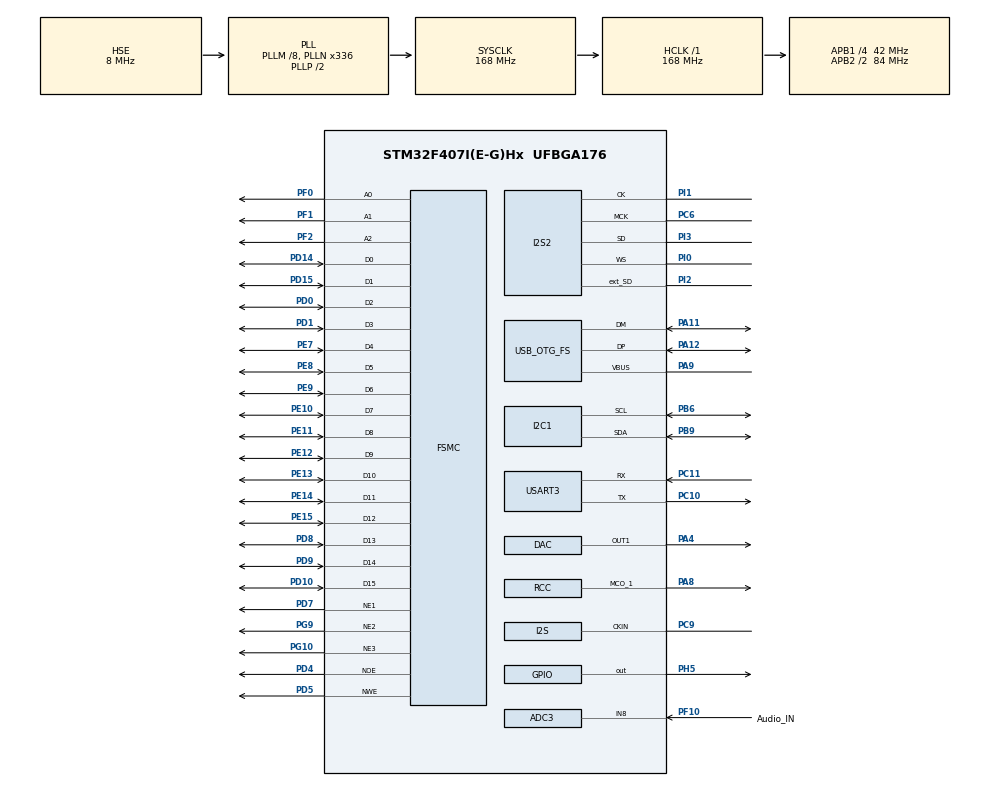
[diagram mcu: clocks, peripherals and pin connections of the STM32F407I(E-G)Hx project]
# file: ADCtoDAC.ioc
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ADC3.Channel-1\#ChannelRegularConversion=ADC_CHANNEL_8
ADC3.ContinuousConvMode=DISABLE
ADC3.DMAContinuousRequests=ENABLE
ADC3.DataAlign=ADC_DATAALIGN_RIGHT
ADC3.ExternalTrigConv=ADC_EXTERNALTRIGCONV_T2_TRGO
ADC3.ExternalTrigConvEdge=ADC_EXTERNALTRIGCONVEDGE_RISING
ADC3.InjNumberOfConversion=0
ADC3.NbrOfConversion=1
ADC3.NbrOfConversionFlag=1
ADC3.Rank-1\#ChannelRegularConversion=1
ADC3.Resolution=ADC_RESOLUTION_12B
ADC3.SamplingTime-1\#ChannelRegularConversion=ADC_SAMPLETIME_480CYCLES
ADC3.ScanConvMode=DISABLE
DAC.DAC_Trigger=DAC_TRIGGER_T2_TRGO
Dma.ADC3.1.Direction=DMA_PERIPH_TO_MEMORY
Dma.ADC3.1.FIFOMode=DMA_FIFOMODE_DISABLE
Dma.ADC3.1.Instance=DMA2_Stream0
Dma.ADC3.1.MemDataAlignment=DMA_MDATAALIGN_WORD
Dma.ADC3.1.MemInc=DMA_MINC_ENABLE
Dma.ADC3.1.Mode=DMA_CIRCULAR
Dma.ADC3.1.PeriphDataAlignment=DMA_PDATAALIGN_WORD
Dma.ADC3.1.PeriphInc=DMA_PINC_DISABLE
Dma.ADC3.1.Priority=DMA_PRIORITY_HIGH
Dma.DAC1.2.Direction=DMA_MEMORY_TO_PERIPH
Dma.DAC1.2.FIFOMode=DMA_FIFOMODE_DISABLE
Dma.DAC1.2.Instance=DMA1_Stream5
Dma.DAC1.2.MemDataAlignment=DMA_MDATAALIGN_WORD
Dma.DAC1.2.MemInc=DMA_MINC_ENABLE
Dma.DAC1.2.Mode=DMA_CIRCULAR
Dma.DAC1.2.PeriphDataAlignment=DMA_PDATAALIGN_WORD
Dma.DAC1.2.PeriphInc=DMA_PINC_DISABLE
Dma.DAC1.2.Priority=DMA_PRIORITY_HIGH
Dma.Request0=SPI2_TX
Dma.Request1=ADC3
Dma.Request2=DAC1
Dma.SPI2_TX.0.Direction=DMA_MEMORY_TO_PERIPH
Dma.SPI2_TX.0.FIFOMode=DMA_FIFOMODE_ENABLE
Dma.SPI2_TX.0.FIFOThreshold=DMA_FIFO_THRESHOLD_FULL
Dma.SPI2_TX.0.Instance=DMA1_Stream4
Dma.SPI2_TX.0.MemBurst=DMA_MBURST_SINGLE
Dma.SPI2_TX.0.MemDataAlignment=DMA_MDATAALIGN_HALFWORD
Dma.SPI2_TX.0.MemInc=DMA_MINC_ENABLE
Dma.SPI2_TX.0.Mode=DMA_CIRCULAR
Dma.SPI2_TX.0.PeriphBurst=DMA_PBURST_SINGLE
Dma.SPI2_TX.0.PeriphDataAlignment=DMA_PDATAALIGN_HALFWORD
Dma.SPI2_TX.0.PeriphInc=DMA_PINC_DISABLE
Dma.SPI2_TX.0.Priority=DMA_PRIORITY_VERY_HIGH
FATFS._USE_FIND=1
FATFS._USE_LFN=1
I2S2.AudioFreq=I2S_AUDIOFREQ_48K
I2S2.DataFormat=I2S_DATAFORMAT_16B
I2S2.ErrorAudioFreq=0.36 %
I2S2.FullDuplexMode=I2S_FULLDUPLEXMODE_ENABLE
I2S2.Instance=SPI$Index
I2S2.RealAudioFreq=48.177 KHz
I2S2.VirtualMode=I2S_MODE_MASTER
Mcu.Family=STM32F4
Mcu.Name=STM32F407I(E-G)Hx
Mcu.Package=UFBGA176
NVIC.DMA1_Stream4_IRQn=true\:0\:0\:false\:false\:true\:false\:true\:true
NVIC.DMA1_Stream5_IRQn=true\:0\:0\:false\:false\:true\:false\:true\:true
NVIC.DMA2_Stream0_IRQn=true\:0\:0\:false\:false\:true\:false\:true\:true
NVIC.OTG_FS_IRQn=true\:0\:0\:false\:false\:true\:false\:true\:true
NVIC.PriorityGroup=NVIC_PRIORITYGROUP_0
PA10.Signal=USB_OTG_FS_ID
PA11.GPIO_Speed=GPIO_SPEED_FREQ_LOW
PA11.Mode=Host_Only
PA11.Signal=USB_OTG_FS_DM
PA12.GPIO_Speed=GPIO_SPEED_FREQ_LOW
PA12.Mode=Host_Only
PA12.Signal=USB_OTG_FS_DP
PA13.Mode=Serial_Wire
PA13.Signal=SYS_JTMS-SWDIO
PA14.Mode=Serial_Wire
PA14.Signal=SYS_JTCK-SWCLK
PA4.Signal=COMP_DAC1_group
PA8.Mode=Clock-out-1
PA8.Signal=RCC_MCO_1
PA9.Mode=Activate_VBUS
PA9.Signal=USB_OTG_FS_VBUS
PB6.Mode=I2C
PB6.Signal=I2C1_SCL
PB9.Mode=I2C
PB9.Signal=I2C1_SDA
PC10.Mode=Asynchronous
PC10.Signal=USART3_TX
PC11.Mode=Asynchronous
PC11.Signal=USART3_RX
PC14-OSC32_IN.Mode=LSE-External-Oscillator
PC14-OSC32_IN.Signal=RCC_OSC32_IN
PC15-OSC32_OUT.Mode=LSE-External-Oscillator
PC15-OSC32_OUT.Signal=RCC_OSC32_OUT
PC6.Mode=Master_Clock_Activated
PC6.Signal=I2S2_MCK
PC9.Mode=Audio_ClockIn
PC9.Signal=I2S_CKIN
PD0.Signal=FSMC_D2_DA2
PD1.Signal=FSMC_D3_DA3
PD10.Signal=FSMC_D15_DA15
PD14.Signal=FSMC_D0_DA0
PD15.Signal=FSMC_D1_DA1
PD4.Signal=FSMC_NOE
PD5.Signal=FSMC_NWE
PD7.Mode=NorPsramChipSelect1_1
PD7.Signal=FSMC_NE1
PD8.Signal=FSMC_D13_DA13
PD9.Signal=FSMC_D14_DA14
PE10.Signal=FSMC_D7_DA7
PE11.Signal=FSMC_D8_DA8
PE12.Signal=FSMC_D9_DA9
PE13.Signal=FSMC_D10_DA10
PE14.Signal=FSMC_D11_DA11
PE15.Signal=FSMC_D12_DA12
PE7.Signal=FSMC_D4_DA4
PE8.Signal=FSMC_D5_DA5
PE9.Signal=FSMC_D6_DA6
PF0.Signal=FSMC_A0
PF1.Signal=FSMC_A1
PF10.GPIO_Label=Audio_IN
PF10.Mode=IN8
PF10.Signal=ADC3_IN8
PF2.Signal=FSMC_A2
PG10.Mode=NorPsramChipSelect3_3
PG10.Signal=FSMC_NE3
PG9.Mode=NorPsramChipSelect2_2
PG9.Signal=FSMC_NE2
PH0-OSC_IN.Mode=HSE-External-Oscillator
PH0-OSC_IN.Signal=RCC_OSC_IN
PH1-OSC_OUT.Mode=HSE-External-Oscillator
PH1-OSC_OUT.Signal=RCC_OSC_OUT
PH5.Signal=GPIO_Output
PI0.Mode=Full_Duplex_Master
PI0.Signal=I2S2_WS
PI1.Mode=Full_Duplex_Master
PI1.Signal=I2S2_CK
PI2.Mode=Full_Duplex_Master
PI2.Signal=I2S2_ext_SD
PI3.Mode=Full_Duplex_Master
PI3.Signal=I2S2_SD
ProjectManager.HeapSize=0x200
ProjectManager.StackSize=0x400
ProjectManager.TargetToolchain=MDK-ARM V5.32
RCC.48MHZClocksFreq_Value=48000000
RCC.AHBFreq_Value=168000000
RCC.APB1CLKDivider=RCC_HCLK_DIV4
RCC.APB1Freq_Value=42000000
RCC.APB1TimFreq_Value=84000000
RCC.APB2CLKDivider=RCC_HCLK_DIV2
RCC.APB2Freq_Value=84000000
RCC.APB2TimFreq_Value=168000000
RCC.CortexFreq_Value=168000000
RCC.EXTERNAL_CLOCK_VALUE=12288000
RCC.HCLKFreq_Value=168000000
RCC.HSE_VALUE=8000000
RCC.HSI_VALUE=16000000
RCC.PLLI2SN=148
RCC.PLLI2SR=3
RCC.PLLM=8
RCC.PLLN=336
RCC.PLLQ=7
RCC.RCC_MCO1Source=RCC_MCO1SOURCE_HSE
RCC.SYSCLKFreq_VALUE=168000000
RCC.SYSCLKSource=RCC_SYSCLKSOURCE_PLLCLK
RCC.VCOOutputFreq_Value=336000000
SH.COMP_DAC1_group.0=DAC_OUT1,DAC_OUT1
SH.FSMC_A0.0=FSMC_A0,A0_1
SH.FSMC_A1.0=FSMC_A1,A1_2
SH.FSMC_A2.0=FSMC_A2,A2_3
SH.FSMC_D0_DA0.0=FSMC_D0,16b-d3
SH.FSMC_D0_DA0.1=FSMC_D0,16b-d2
SH.FSMC_D0_DA0.2=FSMC_D0,16b-d1
SH.FSMC_D10_DA10.0=FSMC_D10,16b-d3
SH.FSMC_D10_DA10.1=FSMC_D10,16b-d2
SH.FSMC_D10_DA10.2=FSMC_D10,16b-d1
SH.FSMC_D11_DA11.0=FSMC_D11,16b-d3
SH.FSMC_D11_DA11.1=FSMC_D11,16b-d2
SH.FSMC_D11_DA11.2=FSMC_D11,16b-d1
SH.FSMC_D12_DA12.0=FSMC_D12,16b-d3
SH.FSMC_D12_DA12.1=FSMC_D12,16b-d2
SH.FSMC_D12_DA12.2=FSMC_D12,16b-d1
SH.FSMC_D13_DA13.0=FSMC_D13,16b-d3
SH.FSMC_D13_DA13.1=FSMC_D13,16b-d2
SH.FSMC_D13_DA13.2=FSMC_D13,16b-d1
SH.FSMC_D14_DA14.0=FSMC_D14,16b-d3
SH.FSMC_D14_DA14.1=FSMC_D14,16b-d2
SH.FSMC_D14_DA14.2=FSMC_D14,16b-d1
SH.FSMC_D15_DA15.0=FSMC_D15,16b-d3
SH.FSMC_D15_DA15.1=FSMC_D15,16b-d2
SH.FSMC_D15_DA15.2=FSMC_D15,16b-d1
SH.FSMC_D1_DA1.0=FSMC_D1,16b-d3
SH.FSMC_D1_DA1.1=FSMC_D1,16b-d2
SH.FSMC_D1_DA1.2=FSMC_D1,16b-d1
SH.FSMC_D2_DA2.0=FSMC_D2,16b-d3
SH.FSMC_D2_DA2.1=FSMC_D2,16b-d2
SH.FSMC_D2_DA2.2=FSMC_D2,16b-d1
SH.FSMC_D3_DA3.0=FSMC_D3,16b-d3
SH.FSMC_D3_DA3.1=FSMC_D3,16b-d2
SH.FSMC_D3_DA3.2=FSMC_D3,16b-d1
SH.FSMC_D4_DA4.0=FSMC_D4,16b-d3
SH.FSMC_D4_DA4.1=FSMC_D4,16b-d2
SH.FSMC_D4_DA4.2=FSMC_D4,16b-d1
SH.FSMC_D5_DA5.0=FSMC_D5,16b-d3
SH.FSMC_D5_DA5.1=FSMC_D5,16b-d2
SH.FSMC_D5_DA5.2=FSMC_D5,16b-d1
SH.FSMC_D6_DA6.0=FSMC_D6,16b-d3
SH.FSMC_D6_DA6.1=FSMC_D6,16b-d2
SH.FSMC_D6_DA6.2=FSMC_D6,16b-d1
SH.FSMC_D7_DA7.0=FSMC_D7,16b-d3
SH.FSMC_D7_DA7.1=FSMC_D7,16b-d2
SH.FSMC_D7_DA7.2=FSMC_D7,16b-d1
SH.FSMC_D8_DA8.0=FSMC_D8,16b-d3
SH.FSMC_D8_DA8.1=FSMC_D8,16b-d2
SH.FSMC_D8_DA8.2=FSMC_D8,16b-d1
SH.FSMC_D9_DA9.0=FSMC_D9,16b-d3
SH.FSMC_D9_DA9.1=FSMC_D9,16b-d2
SH.FSMC_D9_DA9.2=FSMC_D9,16b-d1
SH.FSMC_NOE.0=FSMC_NOE,Lcd1
SH.FSMC_NOE.1=FSMC_NOE,Lcd2
SH.FSMC_NOE.2=FSMC_NOE,Lcd3
SH.FSMC_NWE.0=FSMC_NWE,Lcd1
SH.FSMC_NWE.1=FSMC_NWE,Lcd2
SH.FSMC_NWE.2=FSMC_NWE,Lcd3
TIM2.AutoReloadPreload=TIM_AUTORELOAD_PRELOAD_ENABLE
TIM2.Period=1748
TIM2.TIM_MasterOutputTrigger=TIM_TRGO_UPDATE
USART3.VirtualMode=VM_ASYNC
USB_HOST.BSP.number=1
USB_HOST.USBH_HandleTypeDef-MSC_FS=hUsbHostFS
USB_HOST.VirtualModeFS=Msc
USB_HOST0.BSP.STBoard=false
USB_HOST0.BSP.api=Unknown
USB_HOST0.BSP.condition=SW_VBUS_DRIVE_MSC_FS \= false
USB_HOST0.BSP.instance=PH5
USB_HOST0.BSP.ip=GPIO
USB_HOST0.BSP.mode=Output
USB_HOST0.BSP.name=Drive_VBUS_FS
USB_HOST0.BSP.solution=PH5
USB_OTG_FS.VirtualMode=Host_Only
USB_OTG_FS.phy_itface=HCD_PHY_EMBEDDED
VP_FATFS_VS_USB.Mode=USB
VP_TIM2_VS_ClockSourceINT.Mode=Internal
VP_USB_HOST_VS_USB_HOST_MSC_FS.Mode=MSC_FS
board=STM3240G-EVAL

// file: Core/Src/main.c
/* USER CODE BEGIN Header */
/**
  ******************************************************************************
  * @file           : main.c
  * @brief          : Main program body
  ******************************************************************************
  * @attention
  *
  * Copyright (c) 2024 STMicroelectronics.
  * All rights reserved.
  *
  * This software is licensed under terms that can be found in the LICENSE file
  * in the root directory of this software component.
  * If no LICENSE file comes with this software, it is provided AS-IS.
  *
  ******************************************************************************
  */
/* USER CODE END Header */
#include "main.h"
#include "fatfs.h"
#include "usb_host.h"

/* USER CODE BEGIN PD */
#define BUFFER_SIZE 4096
#define ADC_BUFFER_SIZE 256
#define ADC_DATA_SIZE 128
#define INT16_TO_FLOAT 1.0f / (32768.0f)
#define FLOAT_TO_INT16 32768.0f
/* USER CODE END PD */

ADC_HandleTypeDef hadc3;
DMA_HandleTypeDef hdma_adc3;

DAC_HandleTypeDef hdac;
DMA_HandleTypeDef hdma_dac1;

I2C_HandleTypeDef hi2c1;

I2S_HandleTypeDef hi2s2;
DMA_HandleTypeDef hdma_spi2_tx;

TIM_HandleTypeDef htim2;

UART_HandleTypeDef huart3;

SRAM_HandleTypeDef hsram1;
SRAM_HandleTypeDef hsram2;
SRAM_HandleTypeDef hsram3;

/* USER CODE BEGIN PV */
volatile uint32_t adcData[ADC_BUFFER_SIZE] = {0};
volatile uint32_t dacData[BUFFER_SIZE];

static volatile uint32_t *inBuffPtr;
static volatile uint32_t *outBuffPtr;

uint8_t dataReady = 0;
int flag = 0;
FIL fil;
char line[100];
FRESULT fr;
UINT bytes_write;
char adcDataBuff[600];

/* USER CODE END PV */

void SystemClock_Config(void);
static void MX_GPIO_Init(void);
static void MX_DMA_Init(void);
static void MX_ADC3_Init(void);
static void MX_I2C1_Init(void);
static void MX_I2S2_Init(void);
static void MX_FSMC_Init(void);
static void MX_USART3_UART_Init(void);
static void MX_DAC_Init(void);
static void MX_TIM2_Init(void);
void MX_USB_HOST_Process(void);

/* USER CODE BEGIN 0 */
//void BSP_AUDIO_OUT_HalfTransfer_CallBack(void) {
//	outBuffPtr = &dacData[0];
//	dataReady = 1;
//}

//void BSP_AUDIO_OUT_TransferComplete_CallBack(void) {
//	outBuffPtr = &dacData[BUFFER_SIZE/2];
//	dataReady = 1;
//}

void HAL_ADC_ConvCpltCallback(ADC_HandleTypeDef* hadc) {
	//ADC buffer is fully FULL
	//dataReady = 1;
	inBuffPtr = &adcData[ADC_BUFFER_SIZE];
	outBuffPtr = &dacData[0];
	flag = !flag;
}

void HAL_ADC_ConvHalfCpltCallback(ADC_HandleTypeDef* hadc) {
	//First half of ADC buffer is FULL
	inBuffPtr = &adcData[0];
	outBuffPtr = &dacData[ADC_BUFFER_SIZE];
}

void dsp() {
	for(int i=0; i< ADC_BUFFER_SIZE; i++) {
		outBuffPtr[i] = inBuffPtr[i];
	}
}
//void processData() {
//	static float leftIn, leftOut, rightIn, rightOut;
//
//	for(uint8_t n = 0; n < (BUFFER_SIZE/2) - 1; n+= 2) {
//		/* Left */
//		leftIn = INT16_TO_FLOAT*inBuffPtr[n];
//		if(leftIn > 1.0f) {
//			leftIn -= 2.0f;
//		}
//
//		/* DSP left channel */
//		leftOut = leftIn;
//
//		/* TO DMA */
//		outBuffPtr[n] = (int16_t)(FLOAT_TO_INT16 * leftOut);
//
//		/* Right */
//		rightIn = INT16_TO_FLOAT * inBuffPtr[n+1];
//		if(rightIn > 1.0f) {
//			rightIn -= 2.0f;
//		}
//
//		/* DSP right channel */
//		rightOut = rightIn;
//
//		/* TO DMA */
//		outBuffPtr[n+1] = (int16_t)(FLOAT_TO_INT16 * rightOut);
//	}
//	dataReady = 0;
//}
/* USER CODE END 0 */

int main(void)
{

  /* MCU Configuration--------------------------------------------------------*/

  /* Reset of all peripherals, Initializes the Flash interface and the Systick. */
  HAL_Init();

  /* USER CODE BEGIN Init */
	BSP_LED_Init(LED1);
	BSP_LED_Init(LED2);
	BSP_LED_Init(LED3);
	BSP_LED_Init(LED4);

	BSP_LCD_Init();
	BSP_LCD_DisplayOn();
	BSP_LCD_Clear(LCD_COLOR_CYAN);

	BSP_LCD_DisplayStringAtLine(2, (uint8_t*)"   Audio Mode   ");
	BSP_LCD_DisplayStringAtLine(3, (uint8_t*)"   But it Broken   ");

	HAL_Delay(50);
  /* USER CODE END Init */

  /* Configure the system clock */
  SystemClock_Config();

  /* USER CODE BEGIN SysInit */
	//MY_ADC_Init();
  /* USER CODE END SysInit */

  /* Initialize all configured peripherals */
  MX_GPIO_Init();
  MX_DMA_Init();
  MX_ADC3_Init();
  MX_I2C1_Init();
  MX_I2S2_Init();
  MX_FSMC_Init();
  MX_USART3_UART_Init();
  MX_DAC_Init();
  MX_TIM2_Init();
  MX_FATFS_Init();
  MX_USB_HOST_Init();
  /* USER CODE BEGIN 2 */

	f_mount(&USBHFatFS, (const TCHAR*)USBHPath, 0);

	fr = f_open(&fil, "data.csv", FA_WRITE | FA_CREATE_ALWAYS);

	//BSP_AUDIO_OUT_Init(OUTPUT_DEVICE_HEADPHONE, 75, 48000);

	//BSP_AUDIO_OUT_Play((uint16_t*)&adcData[0], BUFFER_SIZE);

	HAL_TIM_Base_Start(&htim2);
	HAL_StatusTypeDef adcDMAStatus = HAL_ADC_Start_DMA(&hadc3, (uint32_t *)&adcData, ADC_BUFFER_SIZE);
	HAL_DAC_Start_DMA(&hdac, DAC_CHANNEL_1, (uint32_t *)dacData, ADC_BUFFER_SIZE, DAC_ALIGN_12B_R);

	//HAL_StatusTypeDef i2sDMAStatus = HAL_I2SEx_TransmitReceive_DMA(&hi2s2, (uint16_t*)dacData, (uint16_t*)adcData, BUFFER_SIZE);

//	if(i2sDMAStatus != AUDIO_OK) {
//		BSP_LED_On(LED4);
//		while(1) {};
//	} else {
//		BSP_LED_On(LED1);
//	}

	if(adcDMAStatus != HAL_OK) {
		BSP_LED_On(LED3);
		while(1) {};
	} else {
		BSP_LED_Off(LED1);
		BSP_LED_On(LED2);
	}
//
  /* USER CODE END 2 */

  /* Infinite loop */
  while (1)
  {
    MX_USB_HOST_Process();

    /* USER CODE BEGIN 3 */
		dsp();

		if(flag) {
			for(int k=0; k<ADC_BUFFER_SIZE; k++) {
				fr = f_printf(&fil, "%u,", adcData[k]);
				fr = f_puts("\n", &fil);
			}
			flag = !flag;
		}
  }
  /* USER CODE END 3 */
}

void SystemClock_Config(void)
{
  RCC_OscInitTypeDef RCC_OscInitStruct = {0};
  RCC_ClkInitTypeDef RCC_ClkInitStruct = {0};

  /** Configure the main internal regulator output voltage
  */
  __HAL_RCC_PWR_CLK_ENABLE();
  __HAL_PWR_VOLTAGESCALING_CONFIG(PWR_REGULATOR_VOLTAGE_SCALE1);

  /** Initializes the RCC Oscillators according to the specified parameters
  * in the RCC_OscInitTypeDef structure.
  */
  RCC_OscInitStruct.OscillatorType = RCC_OSCILLATORTYPE_HSE;
  RCC_OscInitStruct.HSEState = RCC_HSE_ON;
  RCC_OscInitStruct.PLL.PLLState = RCC_PLL_ON;
  RCC_OscInitStruct.PLL.PLLSource = RCC_PLLSOURCE_HSE;
  RCC_OscInitStruct.PLL.PLLM = 8;
  RCC_OscInitStruct.PLL.PLLN = 336;
  RCC_OscInitStruct.PLL.PLLP = RCC_PLLP_DIV2;
  RCC_OscInitStruct.PLL.PLLQ = 7;
  if (HAL_RCC_OscConfig(&RCC_OscInitStruct) != HAL_OK)
  {
    Error_Handler();
  }

  /** Initializes the CPU, AHB and APB buses clocks
  */
  RCC_ClkInitStruct.ClockType = RCC_CLOCKTYPE_HCLK|RCC_CLOCKTYPE_SYSCLK
                              |RCC_CLOCKTYPE_PCLK1|RCC_CLOCKTYPE_PCLK2;
  RCC_ClkInitStruct.SYSCLKSource = RCC_SYSCLKSOURCE_PLLCLK;
  RCC_ClkInitStruct.AHBCLKDivider = RCC_SYSCLK_DIV1;
  RCC_ClkInitStruct.APB1CLKDivider = RCC_HCLK_DIV4;
  RCC_ClkInitStruct.APB2CLKDivider = RCC_HCLK_DIV2;

  if (HAL_RCC_ClockConfig(&RCC_ClkInitStruct, FLASH_LATENCY_5) != HAL_OK)
  {
    Error_Handler();
  }
  HAL_RCC_MCOConfig(RCC_MCO1, RCC_MCO1SOURCE_HSE, RCC_MCODIV_1);
}

static void MX_ADC3_Init(void)
{

  ADC_ChannelConfTypeDef sConfig = {0};

  /** Configure the global features of the ADC (Clock, Resolution, Data Alignment and number of conversion)
  */
  hadc3.Instance = ADC3;
  hadc3.Init.ClockPrescaler = ADC_CLOCK_SYNC_PCLK_DIV4;
  hadc3.Init.Resolution = ADC_RESOLUTION_12B;
  hadc3.Init.ScanConvMode = DISABLE;
  hadc3.Init.ContinuousConvMode = DISABLE;
  hadc3.Init.DiscontinuousConvMode = DISABLE;
  hadc3.Init.ExternalTrigConvEdge = ADC_EXTERNALTRIGCONVEDGE_RISING;
  hadc3.Init.ExternalTrigConv = ADC_EXTERNALTRIGCONV_T2_TRGO;
  hadc3.Init.DataAlign = ADC_DATAALIGN_RIGHT;
  hadc3.Init.NbrOfConversion = 1;
  hadc3.Init.DMAContinuousRequests = ENABLE;
  hadc3.Init.EOCSelection = ADC_EOC_SINGLE_CONV;
  if (HAL_ADC_Init(&hadc3) != HAL_OK)
  {
    Error_Handler();
  }

  /** Configure for the selected ADC regular channel its corresponding rank in the sequencer and its sample time.
  */
  sConfig.Channel = ADC_CHANNEL_8;
  sConfig.Rank = 1;
  sConfig.SamplingTime = ADC_SAMPLETIME_480CYCLES;
  if (HAL_ADC_ConfigChannel(&hadc3, &sConfig) != HAL_OK)
  {
    Error_Handler();
  }

}

static void MX_DAC_Init(void)
{

  DAC_ChannelConfTypeDef sConfig = {0};

  /** DAC Initialization
  */
  hdac.Instance = DAC;
  if (HAL_DAC_Init(&hdac) != HAL_OK)
  {
    Error_Handler();
  }

  /** DAC channel OUT1 config
  */
  sConfig.DAC_Trigger = DAC_TRIGGER_T2_TRGO;
  sConfig.DAC_OutputBuffer = DAC_OUTPUTBUFFER_ENABLE;
  if (HAL_DAC_ConfigChannel(&hdac, &sConfig, DAC_CHANNEL_1) != HAL_OK)
  {
    Error_Handler();
  }

}

static void MX_I2C1_Init(void)
{

  hi2c1.Instance = I2C1;
  hi2c1.Init.ClockSpeed = 100000;
  hi2c1.Init.DutyCycle = I2C_DUTYCYCLE_2;
  hi2c1.Init.OwnAddress1 = 0;
  hi2c1.Init.AddressingMode = I2C_ADDRESSINGMODE_7BIT;
  hi2c1.Init.DualAddressMode = I2C_DUALADDRESS_DISABLE;
  hi2c1.Init.OwnAddress2 = 0;
  hi2c1.Init.GeneralCallMode = I2C_GENERALCALL_DISABLE;
  hi2c1.Init.NoStretchMode = I2C_NOSTRETCH_DISABLE;
  if (HAL_I2C_Init(&hi2c1) != HAL_OK)
  {
    Error_Handler();
  }

}

static void MX_I2S2_Init(void)
{

  hi2s2.Instance = SPI2;
  hi2s2.Init.Mode = I2S_MODE_MASTER_TX;
  hi2s2.Init.Standard = I2S_STANDARD_PHILIPS;
  hi2s2.Init.DataFormat = I2S_DATAFORMAT_16B;
  hi2s2.Init.MCLKOutput = I2S_MCLKOUTPUT_ENABLE;
  hi2s2.Init.AudioFreq = I2S_AUDIOFREQ_48K;
  hi2s2.Init.CPOL = I2S_CPOL_LOW;
  hi2s2.Init.ClockSource = I2S_CLOCK_PLL;
  hi2s2.Init.FullDuplexMode = I2S_FULLDUPLEXMODE_ENABLE;
  if (HAL_I2S_Init(&hi2s2) != HAL_OK)
  {
    Error_Handler();
  }

}

static void MX_TIM2_Init(void)
{

  TIM_ClockConfigTypeDef sClockSourceConfig = {0};
  TIM_MasterConfigTypeDef sMasterConfig = {0};

  htim2.Instance = TIM2;
  htim2.Init.Prescaler = 0;
  htim2.Init.CounterMode = TIM_COUNTERMODE_UP;
  htim2.Init.Period = 1748;
  htim2.Init.ClockDivision = TIM_CLOCKDIVISION_DIV1;
  htim2.Init.AutoReloadPreload = TIM_AUTORELOAD_PRELOAD_ENABLE;
  if (HAL_TIM_Base_Init(&htim2) != HAL_OK)
  {
    Error_Handler();
  }
  sClockSourceConfig.ClockSource = TIM_CLOCKSOURCE_INTERNAL;
  if (HAL_TIM_ConfigClockSource(&htim2, &sClockSourceConfig) != HAL_OK)
  {
    Error_Handler();
  }
  sMasterConfig.MasterOutputTrigger = TIM_TRGO_UPDATE;
  sMasterConfig.MasterSlaveMode = TIM_MASTERSLAVEMODE_DISABLE;
  if (HAL_TIMEx_MasterConfigSynchronization(&htim2, &sMasterConfig) != HAL_OK)
  {
    Error_Handler();
  }

}

static void MX_USART3_UART_Init(void)
{

  huart3.Instance = USART3;
  huart3.Init.BaudRate = 115200;
  huart3.Init.WordLength = UART_WORDLENGTH_8B;
  huart3.Init.StopBits = UART_STOPBITS_1;
  huart3.Init.Parity = UART_PARITY_NONE;
  huart3.Init.Mode = UART_MODE_TX_RX;
  huart3.Init.HwFlowCtl = UART_HWCONTROL_NONE;
  huart3.Init.OverSampling = UART_OVERSAMPLING_16;
  if (HAL_UART_Init(&huart3) != HAL_OK)
  {
    Error_Handler();
  }

}

static void MX_DMA_Init(void)
{

  /* DMA controller clock enable */
  __HAL_RCC_DMA1_CLK_ENABLE();
  __HAL_RCC_DMA2_CLK_ENABLE();

  /* DMA interrupt init */
  /* DMA1_Stream4_IRQn interrupt configuration */
  HAL_NVIC_SetPriority(DMA1_Stream4_IRQn, 0, 0);
  HAL_NVIC_EnableIRQ(DMA1_Stream4_IRQn);
  /* DMA1_Stream5_IRQn interrupt configuration */
  HAL_NVIC_SetPriority(DMA1_Stream5_IRQn, 0, 0);
  HAL_NVIC_EnableIRQ(DMA1_Stream5_IRQn);
  /* DMA2_Stream0_IRQn interrupt configuration */
  HAL_NVIC_SetPriority(DMA2_Stream0_IRQn, 0, 0);
  HAL_NVIC_EnableIRQ(DMA2_Stream0_IRQn);

}

static void MX_GPIO_Init(void)
{
  GPIO_InitTypeDef GPIO_InitStruct = {0};

  /* GPIO Ports Clock Enable */
  __HAL_RCC_GPIOD_CLK_ENABLE();
  __HAL_RCC_GPIOA_CLK_ENABLE();
  __HAL_RCC_GPIOB_CLK_ENABLE();
  __HAL_RCC_GPIOG_CLK_ENABLE();
  __HAL_RCC_GPIOC_CLK_ENABLE();
  __HAL_RCC_GPIOI_CLK_ENABLE();
  __HAL_RCC_GPIOF_CLK_ENABLE();
  __HAL_RCC_GPIOH_CLK_ENABLE();
  __HAL_RCC_GPIOE_CLK_ENABLE();

  /*Configure GPIO pin Output Level */
  HAL_GPIO_WritePin(GPIOH, GPIO_PIN_5, GPIO_PIN_RESET);

  /*Configure GPIO pin : PC9 */
  GPIO_InitStruct.Pin = GPIO_PIN_9;
  GPIO_InitStruct.Mode = GPIO_MODE_AF_PP;
  GPIO_InitStruct.Pull = GPIO_NOPULL;
  GPIO_InitStruct.Speed = GPIO_SPEED_FREQ_LOW;
  GPIO_InitStruct.Alternate = GPIO_AF5_SPI1;
  HAL_GPIO_Init(GPIOC, &GPIO_InitStruct);

  /*Configure GPIO pin : PA8 */
  GPIO_InitStruct.Pin = GPIO_PIN_8;
  GPIO_InitStruct.Mode = GPIO_MODE_AF_PP;
  GPIO_InitStruct.Pull = GPIO_NOPULL;
  GPIO_InitStruct.Speed = GPIO_SPEED_FREQ_LOW;
  GPIO_InitStruct.Alternate = GPIO_AF0_MCO;
  HAL_GPIO_Init(GPIOA, &GPIO_InitStruct);

  /*Configure GPIO pin : PH5 */
  GPIO_InitStruct.Pin = GPIO_PIN_5;
  GPIO_InitStruct.Mode = GPIO_MODE_OUTPUT_PP;
  GPIO_InitStruct.Pull = GPIO_NOPULL;
  GPIO_InitStruct.Speed = GPIO_SPEED_FREQ_LOW;
  HAL_GPIO_Init(GPIOH, &GPIO_InitStruct);

}

/* FSMC initialization function */
static void MX_FSMC_Init(void)
{

  FSMC_NORSRAM_TimingTypeDef Timing = {0};

  /** Perform the SRAM1 memory initialization sequence
  */
  hsram1.Instance = FSMC_NORSRAM_DEVICE;
  hsram1.Extended = FSMC_NORSRAM_EXTENDED_DEVICE;
  /* hsram1.Init */
  hsram1.Init.NSBank = FSMC_NORSRAM_BANK1;
  hsram1.Init.DataAddressMux = FSMC_DATA_ADDRESS_MUX_DISABLE;
  hsram1.Init.MemoryType = FSMC_MEMORY_TYPE_SRAM;
  hsram1.Init.MemoryDataWidth = FSMC_NORSRAM_MEM_BUS_WIDTH_16;
  hsram1.Init.BurstAccessMode = FSMC_BURST_ACCESS_MODE_DISABLE;
  hsram1.Init.WaitSignalPolarity = FSMC_WAIT_SIGNAL_POLARITY_LOW;
  hsram1.Init.WrapMode = FSMC_WRAP_MODE_DISABLE;
  hsram1.Init.WaitSignalActive = FSMC_WAIT_TIMING_BEFORE_WS;
  hsram1.Init.WriteOperation = FSMC_WRITE_OPERATION_ENABLE;
  hsram1.Init.WaitSignal = FSMC_WAIT_SIGNAL_DISABLE;
  hsram1.Init.ExtendedMode = FSMC_EXTENDED_MODE_DISABLE;
  hsram1.Init.AsynchronousWait = FSMC_ASYNCHRONOUS_WAIT_DISABLE;
  hsram1.Init.WriteBurst = FSMC_WRITE_BURST_DISABLE;
  hsram1.Init.PageSize = FSMC_PAGE_SIZE_NONE;
  /* Timing */
  Timing.AddressSetupTime = 15;
  Timing.AddressHoldTime = 15;
  Timing.DataSetupTime = 255;
  Timing.BusTurnAroundDuration = 15;
  Timing.CLKDivision = 16;
  Timing.DataLatency = 17;
  Timing.AccessMode = FSMC_ACCESS_MODE_A;
  /* ExtTiming */

  if (HAL_SRAM_Init(&hsram1, &Timing, NULL) != HAL_OK)
  {
    Error_Handler( );
  }

  /** Perform the SRAM2 memory initialization sequence
  */
  hsram2.Instance = FSMC_NORSRAM_DEVICE;
  hsram2.Extended = FSMC_NORSRAM_EXTENDED_DEVICE;
  /* hsram2.Init */
  hsram2.Init.NSBank = FSMC_NORSRAM_BANK2;
  hsram2.Init.DataAddressMux = FSMC_DATA_ADDRESS_MUX_DISABLE;
  hsram2.Init.MemoryType = FSMC_MEMORY_TYPE_SRAM;
  hsram2.Init.MemoryDataWidth = FSMC_NORSRAM_MEM_BUS_WIDTH_16;
  hsram2.Init.BurstAccessMode = FSMC_BURST_ACCESS_MODE_DISABLE;
  hsram2.Init.WaitSignalPolarity = FSMC_WAIT_SIGNAL_POLARITY_LOW;
  hsram2.Init.WrapMode = FSMC_WRAP_MODE_DISABLE;
  hsram2.Init.WaitSignalActive = FSMC_WAIT_TIMING_BEFORE_WS;
  hsram2.Init.WriteOperation = FSMC_WRITE_OPERATION_ENABLE;
  hsram2.Init.WaitSignal = FSMC_WAIT_SIGNAL_DISABLE;
  hsram2.Init.ExtendedMode = FSMC_EXTENDED_MODE_DISABLE;
  hsram2.Init.AsynchronousWait = FSMC_ASYNCHRONOUS_WAIT_DISABLE;
  hsram2.Init.WriteBurst = FSMC_WRITE_BURST_DISABLE;
  hsram2.Init.PageSize = FSMC_PAGE_SIZE_NONE;
  /* Timing */
  Timing.AddressSetupTime = 15;
  Timing.AddressHoldTime = 15;
  Timing.DataSetupTime = 255;
  Timing.BusTurnAroundDuration = 15;
  Timing.CLKDivision = 16;
  Timing.DataLatency = 17;
  Timing.AccessMode = FSMC_ACCESS_MODE_A;
  /* ExtTiming */

  if (HAL_SRAM_Init(&hsram2, &Timing, NULL) != HAL_OK)
  {
    Error_Handler( );
  }

  /** Perform the SRAM3 memory initialization sequence
  */
  hsram3.Instance = FSMC_NORSRAM_DEVICE;
  hsram3.Extended = FSMC_NORSRAM_EXTENDED_DEVICE;
  /* hsram3.Init */
  hsram3.Init.NSBank = FSMC_NORSRAM_BANK3;
  hsram3.Init.DataAddressMux = FSMC_DATA_ADDRESS_MUX_DISABLE;
  hsram3.Init.MemoryType = FSMC_MEMORY_TYPE_SRAM;
  hsram3.Init.MemoryDataWidth = FSMC_NORSRAM_MEM_BUS_WIDTH_16;
  hsram3.Init.BurstAccessMode = FSMC_BURST_ACCESS_MODE_DISABLE;
  hsram3.Init.WaitSignalPolarity = FSMC_WAIT_SIGNAL_POLARITY_LOW;
  hsram3.Init.WrapMode = FSMC_WRAP_MODE_DISABLE;
  hsram3.Init.WaitSignalActive = FSMC_WAIT_TIMING_BEFORE_WS;
  hsram3.Init.WriteOperation = FSMC_WRITE_OPERATION_ENABLE;
  hsram3.Init.WaitSignal = FSMC_WAIT_SIGNAL_DISABLE;
  hsram3.Init.ExtendedMode = FSMC_EXTENDED_MODE_DISABLE;
  hsram3.Init.AsynchronousWait = FSMC_ASYNCHRONOUS_WAIT_DISABLE;
  hsram3.Init.WriteBurst = FSMC_WRITE_BURST_DISABLE;
  hsram3.Init.PageSize = FSMC_PAGE_SIZE_NONE;
  /* Timing */
  Timing.AddressSetupTime = 15;
  Timing.AddressHoldTime = 15;
  Timing.DataSetupTime = 255;
  Timing.BusTurnAroundDuration = 15;
  Timing.CLKDivision = 16;
  Timing.DataLatency = 17;
  Timing.AccessMode = FSMC_ACCESS_MODE_A;
  /* ExtTiming */

  if (HAL_SRAM_Init(&hsram3, &Timing, NULL) != HAL_OK)
  {
    Error_Handler( );
  }

}

/* USER CODE BEGIN 4 */
void MY_ADC_Init() {
	/*##-1- Configure the ADC peripheral #######################################*/
  hadc3.Instance          = ADC3;

  hadc3.Init.ClockPrescaler = ADC_CLOCKPRESCALER_PCLK_DIV2;
  hadc3.Init.Resolution = ADC_RESOLUTION_12B;
  hadc3.Init.ScanConvMode = DISABLE;
  hadc3.Init.ContinuousConvMode = ENABLE;
  hadc3.Init.DiscontinuousConvMode = DISABLE;
  hadc3.Init.NbrOfDiscConversion = 0;
  hadc3.Init.ExternalTrigConvEdge = ADC_EXTERNALTRIGCONVEDGE_NONE;
  hadc3.Init.ExternalTrigConv = ADC_EXTERNALTRIGCONV_T1_CC1;
  hadc3.Init.DataAlign = ADC_DATAALIGN_RIGHT;
  hadc3.Init.NbrOfConversion = 1;
  hadc3.Init.DMAContinuousRequests = DISABLE;
  hadc3.Init.EOCSelection = DISABLE;

  if(HAL_ADC_Init(&hadc3) != HAL_OK)
  {
    /* Initialization Error */
    Error_Handler();
  }

  /*##-2- Configure ADC regular channel ######################################*/
	ADC_ChannelConfTypeDef sConfig;

  sConfig.Channel = ADC_CHANNEL_8;
  sConfig.Rank = 1;
  sConfig.SamplingTime = ADC_SAMPLETIME_3CYCLES;
  sConfig.Offset = 0;

  if(HAL_ADC_ConfigChannel(&hadc3, &sConfig) != HAL_OK)
  {
    /* Channel Configuration Error */
    Error_Handler();
  }

  /*##-3- Start the conversion process and enable interrupt ##################*/
  if(HAL_ADC_Start_IT(&hadc3) != HAL_OK)
  {
    /* Start Conversation Error */
    Error_Handler();
  }

}
/* USER CODE END 4 */

void Error_Handler(void)
{
  __disable_irq();
  while (1)
  {
  }
}
